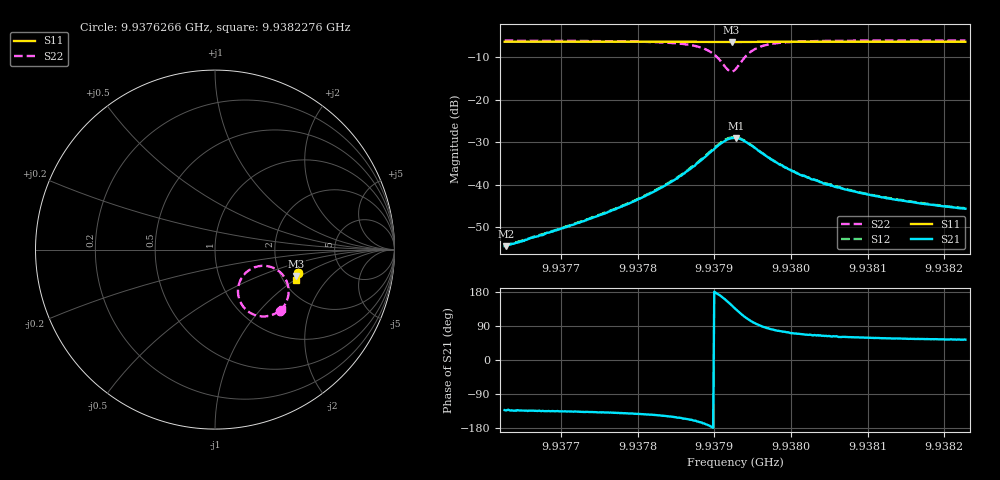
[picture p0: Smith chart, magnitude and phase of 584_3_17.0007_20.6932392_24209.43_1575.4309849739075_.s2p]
#  HZ  S  RI  R  50.00
! Rohde & Schwarz Vector Network Analyzer
! Rohde-Schwarz,ZNB20-2Port,1311601062101988,3.16
! Created: UTC 3/20/2024, 11:18:15 PM
! freq[Hz]  re:S11  im:S11  re:S21  im:S21  re:S12  im:S12  re:S22  im:S22
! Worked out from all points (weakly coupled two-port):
!   401 points, 9.9376266 GHz to 9.9382276 GHz, reference 50 ohm
!   highest |S21| = -29.04 dB at 9.9379286 GHz (marker M1); lowest = -54.5 dB at 9.9376281 GHz (marker M2)
!   lowest |S11| = -6.4 dB at 9.9379226 GHz (marker M3), VSWR 2.82, Z = 121 - j45.9 ohm
!   |S11| at or under -10 dB: nowhere
!   |S22| runs from -13.4 to -6.1 dB; largest |S21 - S12| = 0.0016
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9.93762664e9  0.4643 -0.1298  -0.00127 -0.00139  -0.00133 -0.00137  0.3596 -0.3404
9.93762814e9  0.4642 -0.13  -0.00128 -0.00137  -0.00132 -0.00136  0.3593 -0.3403
9.9377273e9  0.4618 -0.1366  -0.00266 -0.00249  -0.00272 -0.00252  0.342 -0.3523
9.9377859e9  0.4602 -0.1407  -0.00451 -0.00367  -0.00465 -0.00366  0.3228 -0.3619
9.93782797e9  0.459 -0.1437  -0.00736 -0.00495  -0.00758 -0.00491  0.2963 -0.37
9.93785652e9  0.4578 -0.1456  -0.0112 -0.00581  -0.0117 -0.00579  0.2621 -0.3724
9.93788657e9  0.4561 -0.1476  -0.0201 -0.00451  -0.0206 -0.00402  0.1921 -0.3497
9.93789859e9  0.4549 -0.1481  -0.0254 -0.000591  -0.0263 -0.000106  0.1531 -0.3119
9.93790911e9  0.4541 -0.1479  -0.03 0.00625  -0.0307 0.00748  0.1288 -0.2483
9.93791812e9  0.4535 -0.1476  -0.0304 0.0157  -0.0306 0.017  0.1401 -0.1738
9.93792263e9  0.4535 -0.1471  -0.0287 0.0203  -0.0285 0.0219  0.1626 -0.1388
9.93792714e9  0.4537 -0.1471  -0.0253 0.0245  -0.0249 0.026  0.1951 -0.1112
9.93792864e9  0.4539 -0.1468  -0.0241 0.0258  -0.0235 0.0272  0.2073 -0.1044
9.93793616e9  0.4543 -0.1467  -0.0167 0.0294  -0.0158 0.0301  0.2713 -0.0904
9.93794517e9  0.4552 -0.147  -0.00845 0.0289  -0.0074 0.0295  0.3349 -0.1064
9.9379602e9  0.4559 -0.1484  -0.000315 0.024  0.000447 0.0243  0.3895 -0.1577
9.93797372e9  0.4559 -0.1498  0.00297 0.0196  0.00347 0.0198  0.4062 -0.1976
9.93799325e9  0.4557 -0.1515  0.00438 0.0151  0.00478 0.0151  0.4103 -0.2365
9.93802781e9  0.455 -0.1543  0.00479 0.0104  0.00497 0.0105  0.4039 -0.2743
9.93806838e9  0.454 -0.1573  0.00428 0.00777  0.00452 0.00781  0.3946 -0.2969
9.93812848e9  0.4524 -0.1613  0.00371 0.00573  0.00384 0.00577  0.3841 -0.3148
9.93822764e9  0.4497 -0.1679  0.00307 0.00418  0.0032 0.00416  0.3717 -0.3306
